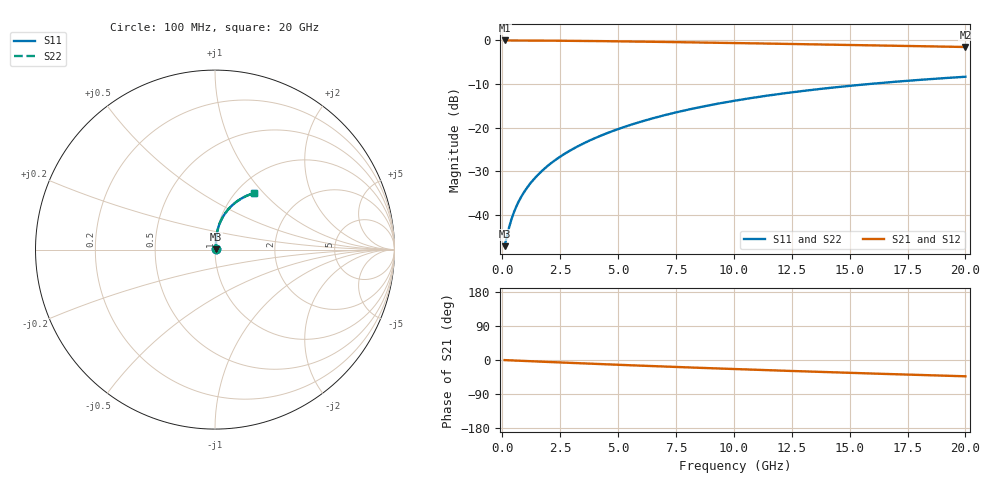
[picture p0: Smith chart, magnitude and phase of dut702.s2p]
! Touchstone file exported from HFSS 2024.1.0
!  File:  C:/UserFiles/LocalFiles/RDL_TSV_Batchsim/temp_RDL_top_702_1779849779.aedt
!  Generated:  10:45:58 AM May 27, 2026
!  Design:  RDL_top
!  Project:  temp_RDL_top_702_1779849779
!  Setup:  Setup1
!  Solution:  Sweep
! Variables:
!  dtsv = 10.80580581um
!  hbump = 3um
!  htsv = 78.32um
!  ldown = 100um
!  lrdl = 591.43um
!  p = 40
!  p1 = 52.96um
!  rhole = 1um
!  t = 450um
!  tdown = 3.915915916um
!  trdl = 2.43um
!  wdown = 15.38538539um
!  wrdl = 23.87um
# GHz S MA R 50.000000
! Terminal data exported
! Port[1] = Box2_T1
! Port[2] = Box2_T2
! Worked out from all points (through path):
!   200 points, 100 MHz to 20 GHz, reference 50 ohm
!   highest |S21| = -0.03 dB at 100 MHz (marker M1); lowest = -1.5 dB at 20 GHz (marker M2)
!   group delay of S21, straight-line fit = 5.93 ps
!   lowest |S11| = -47.1 dB at 100 MHz (marker M3), VSWR 1.01, Z = 50.4 + j0.207 ohm
!   |S11| at or under -10 dB: start of sweep to 15.85 GHz
!   |S22| runs from -47.1 to -8.3 dB; largest |S21 - S12| = 3.2e-15
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0.1  0.004408 27.8  0.9961 -0.3  0.9961 -0.3  0.004408 27.8
! Gamma 0 0 0 0
! Port Impedance 50 0 50 0
0.3  0.007329 55.1  0.9957 -0.8  0.9957 -0.8  0.007329 55.1
0.4  0.009022 61.1  0.9955 -1.1  0.9955 -1.1  0.009022 61.1
0.5  0.01073 65.0  0.9952 -1.3  0.9952 -1.3  0.01073 65.0
0.6  0.01245 68.0  0.995 -1.6  0.995 -1.6  0.01245 68.0
0.8  0.01588 72.1  0.9945 -2.1  0.9945 -2.1  0.01588 72.1
1  0.01935 74.9  0.994 -2.6  0.994 -2.6  0.01935 74.9
1.2  0.02285 76.9  0.9935 -3.2  0.9935 -3.2  0.02285 76.9
1.7  0.0318 80.1  0.992 -4.4  0.992 -4.4  0.0318 80.1
2.2  0.04099 81.9  0.9902 -5.7  0.9902 -5.7  0.04099 81.9
2.8  0.05232 83.0  0.9874 -7.2  0.9874 -7.2  0.05232 83.0
3.5  0.06594 83.5  0.9836 -9.0  0.9836 -9.0  0.06594 83.5
4.2  0.07996 83.5  0.9792 -10.7  0.9792 -10.7  0.07996 83.5
5  0.09641 83.0  0.9736 -12.6  0.9736 -12.6  0.09641 83.0
5.9  0.1153 82.1  0.9667 -14.8  0.9667 -14.8  0.1153 82.1
6.8  0.1345 80.8  0.9593 -16.8  0.9593 -16.8  0.1345 80.8
8.4  0.1689 78.1  0.9454 -20.4  0.9454 -20.4  0.1689 78.1
10.1  0.205 74.8  0.9301 -24.0  0.9301 -24.0  0.205 74.8
11.7  0.2379 71.6  0.9154 -27.3  0.9154 -27.3  0.2379 71.6
13.4  0.2713 68.1  0.8995 -30.8  0.8995 -30.8  0.2713 68.1
16.7  0.3309 61.5  0.8687 -37.1  0.8687 -37.1  0.3309 61.5
20  0.3828 55.3  0.8385 -43.0  0.8385 -43.0  0.3828 55.3
